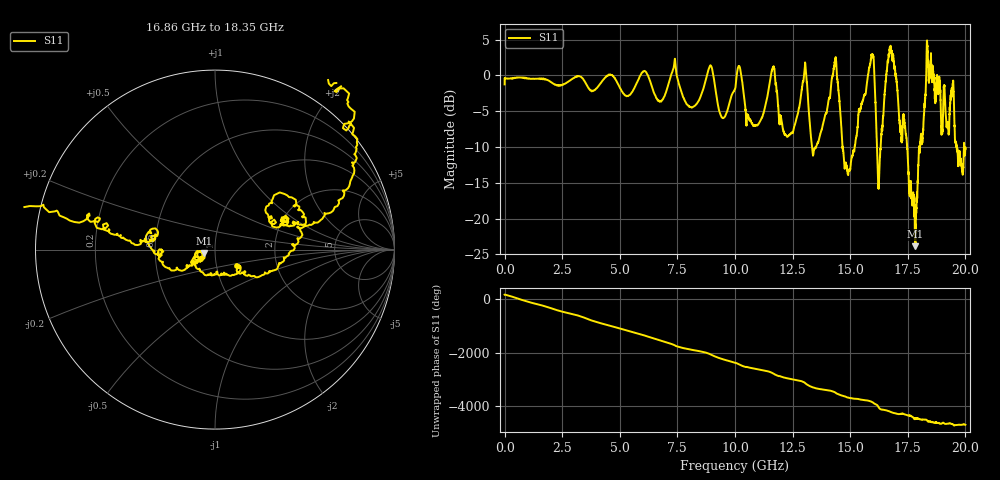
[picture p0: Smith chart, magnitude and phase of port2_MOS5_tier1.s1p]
! Created with skrf 1.8.0 (http://scikit-rf.org).
# GHz S RI R 50.0
!freq ReS11 ImS11
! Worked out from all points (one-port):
!   10001 points, 1 MHz to 20 GHz, reference 50 ohm
!   lowest |S11| = -23.9 dB at 17.82 GHz (marker M1), VSWR 1.14, Z = 44.2 - j1.63 ohm
!   |S11| at or under -10 dB: 14.67 GHz to 15.19 GHz (520.1 MHz wide, 3.48 % of centre); 17.47 GHz to 17.99 GHz (519.9 MHz wide, 2.93 % of centre); 19.63 GHz to 19.94 GHz (309.8 MHz wide, 1.57 % of centre) (the widest 3 of 13)
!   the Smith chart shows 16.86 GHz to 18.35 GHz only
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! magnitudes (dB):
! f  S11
! 1 MHz  -1.3
! 2.501 GHz  -1.3
! 5.001 GHz  -1.7
! 7.501 GHz  -0.4
! 8.169 GHz  -4.4
! 8.949 GHz  1.4
! 9.481 GHz  -6.0
! 10 GHz  -1.9
! 10.2 GHz  1.2
! 10.93 GHz  -7.0
! 11.65 GHz  1.2
! 12.13 GHz  -8.0
! 12.5 GHz  -8.0
! 13.04 GHz  1.6
! 13.47 GHz  -10.2
! 14.33 GHz  1.8
! 14.74 GHz  -12.4
! 15 GHz  -13.1
! 15.93 GHz  2.8
! 16.26 GHz  -13.4
! 16.77 GHz  3.3
! 17.5 GHz  -11.6
! 17.82 GHz  -23.9
! 18.41 GHz  -0.5
! 19.22 GHz  -7.1
! 19.42 GHz  -2.5
! 19.78 GHz  -11.8
! 20 GHz  -10.1
